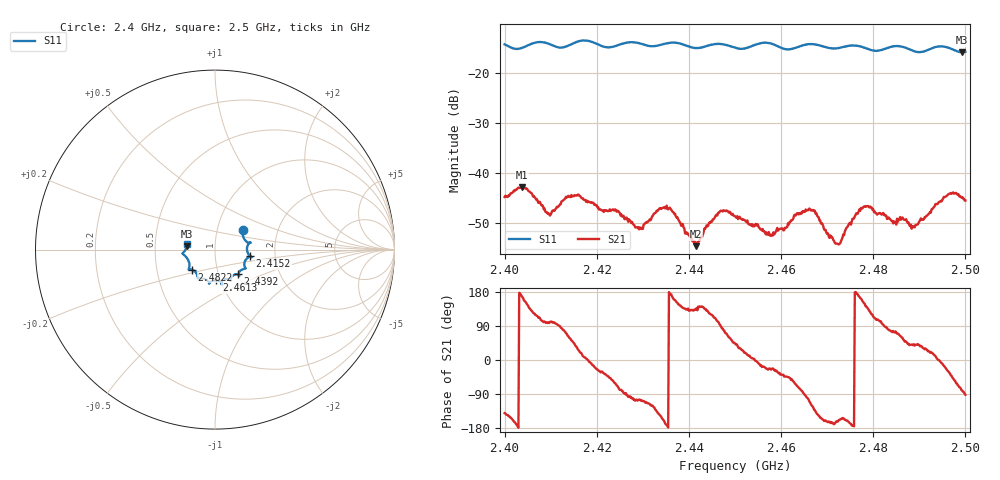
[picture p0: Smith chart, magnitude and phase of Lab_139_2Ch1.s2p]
# Hz S RI R 50
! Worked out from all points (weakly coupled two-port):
!   601 points, 2.4 GHz to 2.5 GHz, reference 50 ohm
!   highest |S21| = -42.85 dB at 2.4038 GHz (marker M1); lowest = -54.7 dB at 2.4415 GHz (marker M2)
!   lowest |S11| = -15.9 dB at 2.4992 GHz (marker M3), VSWR 1.38, Z = 36.3 + j1.34 ohm
!   |S11| at or under -10 dB: start of sweep to end of sweep
!   S12 and S22 are empty: the file has one direction only
!   S11 on the Smith chart (normalised r, x): 2.4 GHz: 1.33, +0.31; 2.4152 GHz: 1.48, -0.11; 2.4392 GHz: 1.24, -0.35; 2.4613 GHz: 0.96, -0.34; 2.4822 GHz: 0.76, -0.17; 2.5 GHz: 0.73, +0.05
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2.4e9  0.156 0.1111  -0.00438 -0.00366  0 0  0 0
2.403833e9  0.1699 0.0504  -0.00699 0.00174  0 0  0 0
2.4095e9  0.1912 0.0361  -0.000614 0.00389  0 0  0 0
2.415167e9  0.1951 -0.0368  0.00439 0.00403  0 0  0 0
2.416667e9  0.2043 -0.0425  0.00531 0.00172  0 0  0 0
2.4295e9  0.1635 -0.1066  -0.000809 -0.00268  0 0  0 0
2.433333e9  0.1323 -0.1321  -0.00328 -0.00265  0 0  0 0
2.439167e9  0.1271 -0.1381  -0.00175 0.00173  0 0  0 0
2.4415e9  0.104 -0.142  -0.00125 0.00134  0 0  0 0
2.446833e9  0.0855 -0.1734  -0.000116 0.00415  0 0  0 0
2.45e9  0.0687 -0.1635  0.00265 0.00253  0 0  0 0
2.4575e9  0.0398 -0.1929  0.00219 -0.00089  0 0  0 0
2.461333e9  0.00748 -0.1705  0.00204 -0.002  0 0  0 0
2.466667e9  -0.0331 -0.1899  -0.00214 -0.00366  0 0  0 0
2.472333e9  -0.0697 -0.161  -0.00185 -0.000588  0 0  0 0
2.477833e9  -0.097 -0.1505  -0.00403 0.00207  0 0  0 0
2.482167e9  -0.1284 -0.1119  -0.000225 0.00395  0 0  0 0
2.483333e9  -0.1396 -0.1103  0.000612 0.00351  0 0  0 0
2.488833e9  -0.1424 -0.0812  0.00214 0.00188  0 0  0 0
2.496333e9  -0.1764 -0.016  0.00523 -0.00311  0 0  0 0
2.499167e9  -0.1587 0.018  0.000993 -0.00554  0 0  0 0
2.5e9  -0.158 0.0332  -0.000165 -0.00525  0 0  0 0
